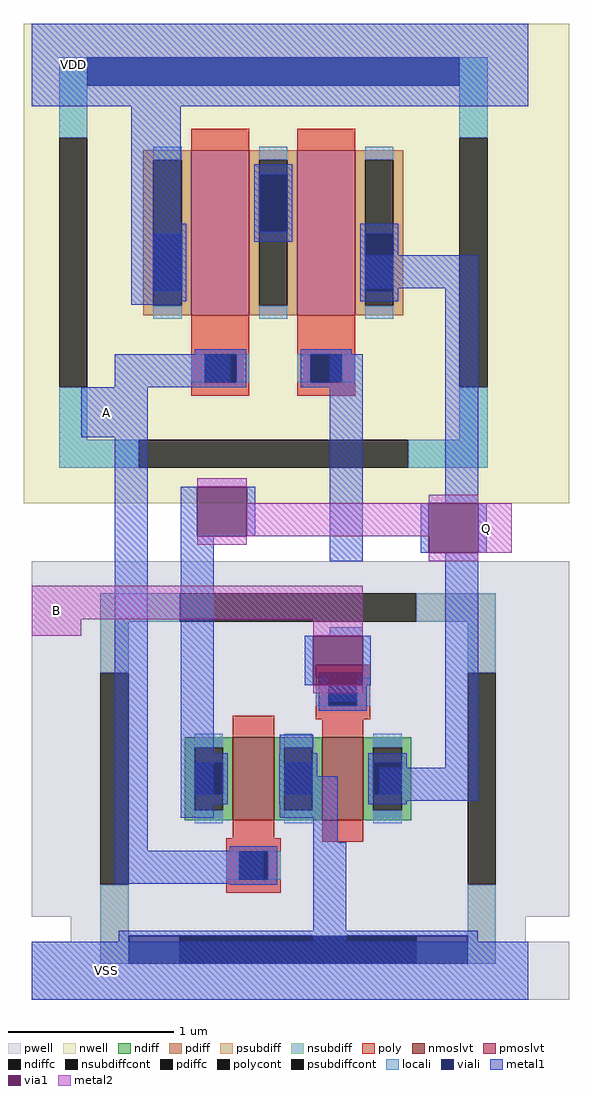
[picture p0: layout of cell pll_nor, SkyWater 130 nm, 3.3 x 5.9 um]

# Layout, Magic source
magic
tech sky130A
magscale 1 2
<< nwell >>
rect -110 540 550 1120
<< pwell >>
rect -100 40 550 470
rect 240 10 280 40
rect -100 -60 550 10
<< metal1 >>
rect -100 1020 500 1120
rect 20 780 80 1020
rect 300 800 440 840
rect 0 680 140 720
rect -40 620 40 680
rect 0 120 40 620
rect 80 500 100 560
rect 160 500 170 560
rect 80 160 120 500
rect 260 470 300 720
rect 400 540 440 800
rect 370 480 380 540
rect 440 480 450 540
rect 260 380 300 390
rect 230 320 240 380
rect 300 320 310 380
rect 260 300 300 320
rect 200 210 240 260
rect 400 220 440 480
rect 200 160 270 210
rect 320 180 440 220
rect 240 130 270 160
rect 0 80 180 120
rect 240 10 280 130
rect -100 -60 500 10
<< via1 >>
rect 100 500 160 560
rect 380 480 440 540
rect 240 320 300 380
<< metal2 >>
rect 100 560 160 570
rect 380 540 440 550
rect 160 500 380 540
rect 100 490 160 500
rect 440 480 480 540
rect 380 470 440 480
rect -100 400 300 440
rect -100 380 -40 400
rect 240 380 300 400
rect 240 310 300 320
use sky130_fd_pr__nfet_01v8_lvt_ZDUAWA  sky130_fd_pr__nfet_01v8_lvt_ZDUAWA_0
transform 1 0 222 0 1 207
box -275 -260 275 260
use sky130_fd_pr__pfet_01v8_lvt_UT4KY6  sky130_fd_pr__pfet_01v8_lvt_UT4KY6_0
transform 1 0 192 0 1 831
box -295 -284 295 284
<< labels >>
flabel metal2 -100 380 -40 440 0 FreeSans 800 0 0 0 B
port 1 nsew
flabel metal2 420 480 480 540 0 FreeSans 800 0 0 0 Q
port 2 nsew
flabel metal1 -100 1020 0 1120 0 FreeSans 800 0 0 0 VDD
port 3 nsew
flabel metal1 -60 -60 40 10 0 FreeSans 800 0 0 0 VSS
port 4 nsew
flabel metal1 -40 620 20 680 0 FreeSans 800 0 0 0 A
port 0 nsew
<< end >>

# cell sky130_fd_pr__nfet_01v8_lvt_ZDUAWA: kit device sky130_fd_pr__nfet_01v8_lvt, w 0.5 l 0.25 m 1 nf 2 diffcov 100 polycov 100 guard 1 glc 1 grc 1 gtc 1 gbc 1 tbcov 100 rlcov 100 topc 1 botc 0 poverlap 0 doverlap 1 lmin 0.15 wmin 0.42 compatible {sky130_fd_pr__nfet_01v8 sky130_fd_pr__nfet_01v8_lvt sky130_fd_bs_flash__special_sonosfet_star sky130_fd_pr__nfet_g5v0d10v5 sky130_fd_pr__nfet_05v0_nvt sky130_fd_pr__nfet_03v3_nvt} full_metal 1 viasrc 50 viadrn 50 viagate 100 viagb 100 viagr 0 viagl 0 viagt 0

# cell sky130_fd_pr__pfet_01v8_lvt_UT4KY6: kit device sky130_fd_pr__pfet_01v8_lvt, w 1 l 0.35 m 1 nf 2 diffcov 100 polycov 100 guard 1 glc 1 grc 1 gtc 0 gbc 1 tbcov 100 rlcov 100 topc 0 botc 1 poverlap 0 doverlap 1 lmin 0.35 wmin 0.42 compatible {sky130_fd_pr__pfet_01v8 sky130_fd_pr__pfet_01v8_lvt sky130_fd_pr__pfet_01v8_hvt sky130_fd_pr__pfet_g5v0d10v5} full_metal 1 viasrc -40 viadrn +40 viagate 100 viagb 0 viagr 0 viagl 0 viagt 100
